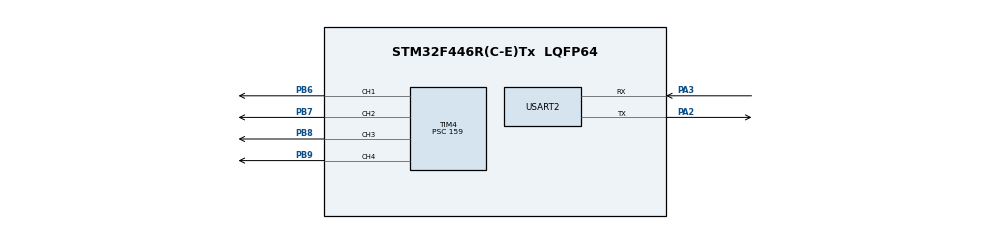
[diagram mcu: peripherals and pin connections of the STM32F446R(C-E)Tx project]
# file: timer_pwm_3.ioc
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Mcu.Family=STM32F4
Mcu.Name=STM32F446R(C-E)Tx
Mcu.Package=LQFP64
Mcu.UserConstants=SAMPLE_RANGE,1000
NVIC.PriorityGroup=NVIC_PRIORITYGROUP_4
NVIC.TIM4_IRQn=true\:0\:0\:false\:false\:true\:true\:true\:true
PA13.Mode=Serial_Wire
PA13.Signal=SYS_JTMS-SWDIO
PA14.Mode=Serial_Wire
PA14.Signal=SYS_JTCK-SWCLK
PA2.Mode=Asynchronous
PA2.Signal=USART2_TX
PA3.Mode=Asynchronous
PA3.Signal=USART2_RX
PB6.Signal=S_TIM4_CH1
PB7.Signal=S_TIM4_CH2
PB8.Signal=S_TIM4_CH3
PB9.Signal=S_TIM4_CH4
ProjectManager.HeapSize=0x200
ProjectManager.StackSize=0x400
ProjectManager.TargetToolchain=STM32CubeIDE
RCC.CortexFreq_Value=16000000
RCC.USBFreq_Value=96000000
RCC.VCOOutputFreq_Value=192000000
SH.S_TIM4_CH1.0=TIM4_CH1,PWM Generation1 CH1
SH.S_TIM4_CH2.0=TIM4_CH2,PWM Generation2 CH2
SH.S_TIM4_CH3.0=TIM4_CH3,PWM Generation3 CH3
SH.S_TIM4_CH4.0=TIM4_CH4,PWM Generation4 CH4
TIM4.Channel-PWM\ Generation1\ CH1=TIM_CHANNEL_1
TIM4.Channel-PWM\ Generation2\ CH2=TIM_CHANNEL_2
TIM4.Channel-PWM\ Generation3\ CH3=TIM_CHANNEL_3
TIM4.Channel-PWM\ Generation4\ CH4=TIM_CHANNEL_4
TIM4.Period=SAMPLE_RANGE - 1
TIM4.Prescaler=159
USART2.VirtualMode=VM_ASYNC
VP_TIM4_VS_ClockSourceINT.Mode=Internal
board=custom

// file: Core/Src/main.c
/* USER CODE BEGIN Header */
/**
  ******************************************************************************
  * @file           : main.c
  * @brief          : Main program body
  ******************************************************************************
  * @attention
  *
  * Copyright (c) 2026 STMicroelectronics.
  * All rights reserved.
  *
  * This software is licensed under terms that can be found in the LICENSE file
  * in the root directory of this software component.
  * If no LICENSE file comes with this software, it is provided AS-IS.
  *
  ******************************************************************************
  */
/* USER CODE END Header */
#include "main.h"

/* USER CODE BEGIN Includes */

#include <stdio.h>
#include <math.h>
/* USER CODE END Includes */

/* USER CODE BEGIN PD */

#define SAMPLE_DELAY 10
#define SAMPLE_FREQ (1000 / SAMPLE_DELAY)
#define SAMPLE_MIDPT (SAMPLE_RANGE / 2)

/* USER CODE END PD */

TIM_HandleTypeDef htim4;

UART_HandleTypeDef huart2;

/* USER CODE BEGIN PV */

uint32_t pwm_channels[] = { TIM_CHANNEL_1, TIM_CHANNEL_2, TIM_CHANNEL_3,TIM_CHANNEL_4
};

float angles[] = {0, 0, 0, 0};

float angle_changes[] = {
		1 * (2 * M_PI / SAMPLE_FREQ),
		2 * (2 * M_PI / SAMPLE_FREQ),
		0.5 * (2 * M_PI / SAMPLE_FREQ),
		0.1 * (2 * M_PI / SAMPLE_FREQ)
};

uint32_t callback_cnt = 0;
/* USER CODE END PV */

void SystemClock_Config(void);
static void MX_GPIO_Init(void);
static void MX_TIM4_Init(void);
static void MX_USART2_UART_Init(void);

/* USER CODE BEGIN 0 */

// Send printf to uart2
int _write(int fd, char* ptr, int len) {
  HAL_StatusTypeDef hstatus;

  if (fd == 1 || fd == 2) {
    hstatus = HAL_UART_Transmit(&huart2, (uint8_t *) ptr, len, HAL_MAX_DELAY);
    if (hstatus == HAL_OK)
      return len;
    else
      return -1;
  }
  return -1;
}

//Callback triggers after PWM pulse period is completed
inline void HAL_TIM_PWM_PulseFinishedCallback(TIM_HandleTypeDef *htim) {
	if (htim->Instance == TIM4) {

		for ( int i = 0; i < (sizeof(angles) / sizeof(angles[0])); i++) {

			 	angles[i] += angle_changes[i];

			 	if (angles[i] >= 2 * M_PI) angles[i] -= (2 * M_PI);

			 	__HAL_TIM_SET_COMPARE(&htim4, pwm_channels[i], SAMPLE_MIDPT - (SAMPLE_MIDPT * sin(angles[i])));

		}

		++callback_cnt;
	}
}
/* USER CODE END 0 */

int main(void)
{

  /* MCU Configuration--------------------------------------------------------*/

  /* Reset of all peripherals, Initializes the Flash interface and the Systick. */
  HAL_Init();

  /* Configure the system clock */
  SystemClock_Config();

  /* Initialize all configured peripherals */
  MX_GPIO_Init();
  MX_TIM4_Init();
  MX_USART2_UART_Init();
  /* USER CODE BEGIN 2 */

  printf("\n\n\n\n\r------------\n\rStarting PWM\n\r");

      printf("Starting timer channel\n\r");
      HAL_TIM_PWM_Start_IT(&htim4, TIM_CHANNEL_1);
      HAL_TIM_PWM_Start(&htim4, TIM_CHANNEL_2);
      HAL_TIM_PWM_Start(&htim4, TIM_CHANNEL_3);
      HAL_TIM_PWM_Start(&htim4, TIM_CHANNEL_4);

  /* USER CODE END 2 */

  /* Infinite loop */
  /* USER CODE BEGIN WHILE */

      uint32_t now = 0, next_tick = 1000, loop_count = 0;

  while (1)
  {

	  now = uwTick;

	 	  if (now >= next_tick) {

	 	  	  printf("Tick %lu (loop = %lu , cb count = %lu)\n\r", now/1000, loop_count, callback_cnt);

	 	  	  loop_count = 0;
	 	  	  next_tick = now + 1000;
	 	  	  	  }

	 	  ++loop_count;

    /* USER CODE END WHILE */

  }
}

void SystemClock_Config(void)
{
  RCC_OscInitTypeDef RCC_OscInitStruct = {0};
  RCC_ClkInitTypeDef RCC_ClkInitStruct = {0};

  /** Configure the main internal regulator output voltage
  */
  __HAL_RCC_PWR_CLK_ENABLE();
  __HAL_PWR_VOLTAGESCALING_CONFIG(PWR_REGULATOR_VOLTAGE_SCALE3);

  /** Initializes the RCC Oscillators according to the specified parameters
  * in the RCC_OscInitTypeDef structure.
  */
  RCC_OscInitStruct.OscillatorType = RCC_OSCILLATORTYPE_HSI;
  RCC_OscInitStruct.HSIState = RCC_HSI_ON;
  RCC_OscInitStruct.HSICalibrationValue = RCC_HSICALIBRATION_DEFAULT;
  RCC_OscInitStruct.PLL.PLLState = RCC_PLL_NONE;
  if (HAL_RCC_OscConfig(&RCC_OscInitStruct) != HAL_OK)
  {
    Error_Handler();
  }

  /** Initializes the CPU, AHB and APB buses clocks
  */
  RCC_ClkInitStruct.ClockType = RCC_CLOCKTYPE_HCLK|RCC_CLOCKTYPE_SYSCLK
                              |RCC_CLOCKTYPE_PCLK1|RCC_CLOCKTYPE_PCLK2;
  RCC_ClkInitStruct.SYSCLKSource = RCC_SYSCLKSOURCE_HSI;
  RCC_ClkInitStruct.AHBCLKDivider = RCC_SYSCLK_DIV1;
  RCC_ClkInitStruct.APB1CLKDivider = RCC_HCLK_DIV1;
  RCC_ClkInitStruct.APB2CLKDivider = RCC_HCLK_DIV1;

  if (HAL_RCC_ClockConfig(&RCC_ClkInitStruct, FLASH_LATENCY_0) != HAL_OK)
  {
    Error_Handler();
  }
}

static void MX_TIM4_Init(void)
{

  TIM_ClockConfigTypeDef sClockSourceConfig = {0};
  TIM_MasterConfigTypeDef sMasterConfig = {0};
  TIM_OC_InitTypeDef sConfigOC = {0};

  htim4.Instance = TIM4;
  htim4.Init.Prescaler = 159;
  htim4.Init.CounterMode = TIM_COUNTERMODE_UP;
  htim4.Init.Period = SAMPLE_RANGE - 1;
  htim4.Init.ClockDivision = TIM_CLOCKDIVISION_DIV1;
  htim4.Init.AutoReloadPreload = TIM_AUTORELOAD_PRELOAD_DISABLE;
  if (HAL_TIM_Base_Init(&htim4) != HAL_OK)
  {
    Error_Handler();
  }
  sClockSourceConfig.ClockSource = TIM_CLOCKSOURCE_INTERNAL;
  if (HAL_TIM_ConfigClockSource(&htim4, &sClockSourceConfig) != HAL_OK)
  {
    Error_Handler();
  }
  if (HAL_TIM_PWM_Init(&htim4) != HAL_OK)
  {
    Error_Handler();
  }
  sMasterConfig.MasterOutputTrigger = TIM_TRGO_RESET;
  sMasterConfig.MasterSlaveMode = TIM_MASTERSLAVEMODE_DISABLE;
  if (HAL_TIMEx_MasterConfigSynchronization(&htim4, &sMasterConfig) != HAL_OK)
  {
    Error_Handler();
  }
  sConfigOC.OCMode = TIM_OCMODE_PWM1;
  sConfigOC.Pulse = 0;
  sConfigOC.OCPolarity = TIM_OCPOLARITY_HIGH;
  sConfigOC.OCFastMode = TIM_OCFAST_DISABLE;
  if (HAL_TIM_PWM_ConfigChannel(&htim4, &sConfigOC, TIM_CHANNEL_1) != HAL_OK)
  {
    Error_Handler();
  }
  if (HAL_TIM_PWM_ConfigChannel(&htim4, &sConfigOC, TIM_CHANNEL_2) != HAL_OK)
  {
    Error_Handler();
  }
  if (HAL_TIM_PWM_ConfigChannel(&htim4, &sConfigOC, TIM_CHANNEL_3) != HAL_OK)
  {
    Error_Handler();
  }
  if (HAL_TIM_PWM_ConfigChannel(&htim4, &sConfigOC, TIM_CHANNEL_4) != HAL_OK)
  {
    Error_Handler();
  }
  HAL_TIM_MspPostInit(&htim4);

}

static void MX_USART2_UART_Init(void)
{

  huart2.Instance = USART2;
  huart2.Init.BaudRate = 115200;
  huart2.Init.WordLength = UART_WORDLENGTH_8B;
  huart2.Init.StopBits = UART_STOPBITS_1;
  huart2.Init.Parity = UART_PARITY_NONE;
  huart2.Init.Mode = UART_MODE_TX_RX;
  huart2.Init.HwFlowCtl = UART_HWCONTROL_NONE;
  huart2.Init.OverSampling = UART_OVERSAMPLING_16;
  if (HAL_UART_Init(&huart2) != HAL_OK)
  {
    Error_Handler();
  }

}

static void MX_GPIO_Init(void)
{

  /* GPIO Ports Clock Enable */
  __HAL_RCC_GPIOA_CLK_ENABLE();
  __HAL_RCC_GPIOB_CLK_ENABLE();

}

void Error_Handler(void)
{
  __disable_irq();
  while (1)
  {
  }
}
